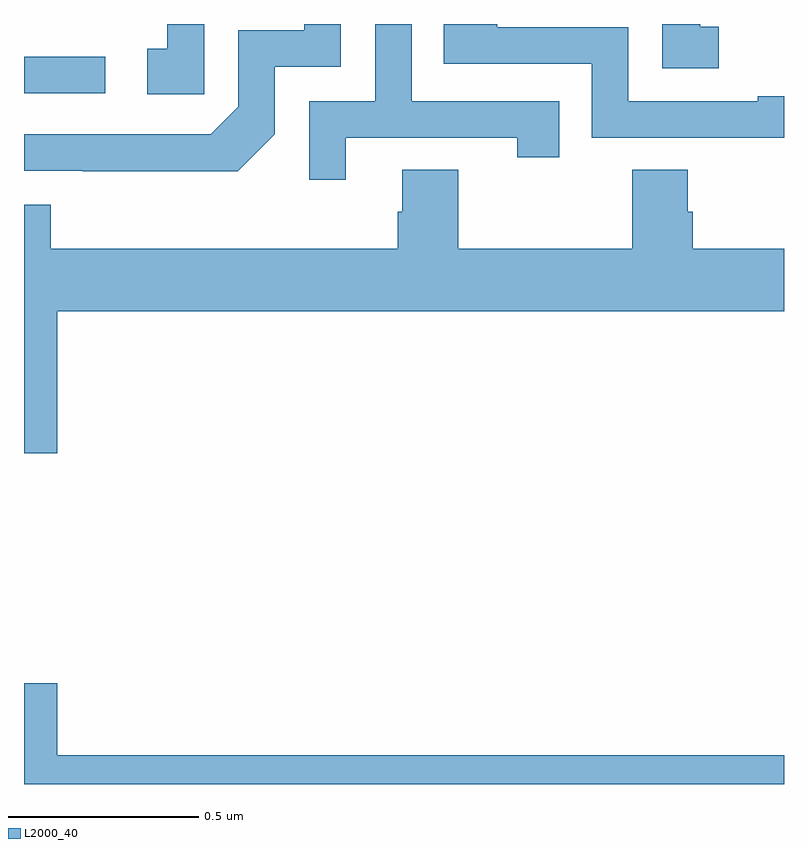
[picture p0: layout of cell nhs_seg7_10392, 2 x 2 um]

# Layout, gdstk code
import gdstk
lib = gdstk.Library(unit=1e-6, precision=1e-09)
def R(c, l, rs):  # rectangles x0, y0, x1, y1
    for r in rs: c.add(gdstk.rectangle(r[:2], r[2:], *l))
def P(c, l, *ps):  # polygons
    for p in ps: c.add(gdstk.Polygon(p, *l))
L2000_40 = (2000, 40)

nhs_seg7_10392 = lib.new_cell('nhs_seg7_10392')
R(nhs_seg7_10392, L2000_40, [(249,1039.818,249.214,1039.914)])
P(nhs_seg7_10392, L2000_40, [(249.474,1040),(249.377,1040),(249.377,1039.935),(249.324,1039.935),(249.324,1039.815),(249.474,1039.815)],
  [(249.66,1039.71),(249.66,1039.887),(249.834,1039.887),(249.834,1040),(249.737,1040),(249.737,1039.983),(249.564,1039.983),(249.564,1039.782),(249.492,1039.71),(249,1039.71),(249,1039.614),(249.154,1039.614),(249.154,1039.613),(249.562,1039.613)],
  [(249.847,1039.701),(250.298,1039.701),(250.298,1039.65),(250.409,1039.65),(250.409,1039.797),(250.02,1039.797),(250.02,1040),(249.924,1040),(249.924,1039.797),(249.75,1039.797),(249.75,1039.59),(249.847,1039.59)],
  [(250.828,1039.993),(250.779,1039.993),(250.779,1040),(250.68,1040),(250.68,1039.884),(250.828,1039.884)],
  [(251,1039.81),(250.931,1039.81),(250.931,1039.797),(250.59,1039.797),(250.59,1039.992),(250.245,1039.992),(250.245,1040),(250.105,1040),(250.105,1039.896),(250.494,1039.896),(250.494,1039.701),(251,1039.701)],
  [(249.088,1039.244),(251,1039.244),(251,1039.408),(250.76,1039.408),(250.76,1039.506),(250.747,1039.506),(250.747,1039.616),(250.6,1039.616),(250.6,1039.408),(250.143,1039.408),(250.143,1039.616),(249.995,1039.616),(249.995,1039.506),(249.983,1039.506),(249.983,1039.408),(249.071,1039.408),(249.071,1039.525),(249,1039.525),(249,1038.87),(249.088,1038.87)],
  [(251,1038.076),(249.088,1038.076),(249.088,1038.265),(249,1038.265),(249,1038),(251,1038)])

lib.write_gds('nhs_seg7_10392.gds')
